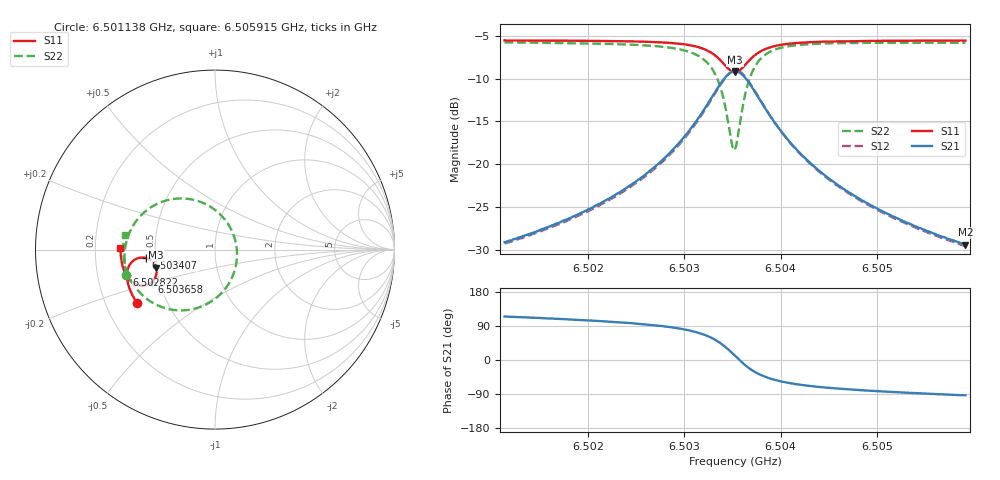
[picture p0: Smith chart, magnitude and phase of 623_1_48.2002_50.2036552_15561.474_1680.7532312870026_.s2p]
#  HZ  S  RI  R  50.00
! Rohde & Schwarz Vector Network Analyzer
! Rohde-Schwarz,ZNB20-2Port,1311601062101988,3.16
! Created: UTC 3/20/2024, 12:03:59 PM
! freq[Hz]  re:S11  im:S11  re:S21  im:S21  re:S12  im:S12  re:S22  im:S22
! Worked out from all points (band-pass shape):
!   401 points, 6.501138 GHz to 6.505915 GHz, reference 50 ohm
!   highest |S21| = -9.14 dB at 6.503526 GHz (marker M1); lowest = -29.3 dB at 6.505915 GHz (marker M2)
!   |S21| within 3 dB of the highest: 6.503288 GHz to 6.503766 GHz (477.6 kHz wide, 0.00734 % of centre)
!   lowest |S11| = -9.3 dB at 6.503526 GHz (marker M3), VSWR 2.05, Z = 24.8 - j5.62 ohm
!   |S11| at or under -10 dB: nowhere
!   |S22| runs from -18.3 to -5.8 dB; largest |S21 - S12| = 0.012
!   S11 on the Smith chart (normalised r, x): 6.501138 GHz: 0.34, -0.28; 6.502822 GHz: 0.33, -0.13; 6.503407 GHz: 0.44, -0.05; 6.503658 GHz: 0.45, -0.19; 6.505915 GHz: 0.31, +0.01
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6.5011376e9  -0.4351 -0.2973  -0.0148 0.032  -0.013 0.0321  -0.4944 -0.1388
6.5019379e9  -0.4682 -0.2364  -0.0139 0.0505  -0.0114 0.05  -0.5047 -0.0506
6.5023798e9  -0.4831 -0.196  -0.0106 0.071  -0.00741 0.0697  -0.4998 0.0152
6.5027381e9  -0.4906 -0.1545  -0.000813 0.1017  0.00298 0.0993  -0.4779 0.0912
6.5028217e9  -0.491 -0.1429  0.00417 0.1124  0.0081 0.1095  -0.4671 0.1143
6.5030248e9  -0.4861 -0.1089  0.0273 0.1479  0.0312 0.1434  -0.4187 0.1836
6.5031681e9  -0.4712 -0.0787  0.066 0.1823  0.0688 0.1764  -0.3441 0.2435
6.5033115e9  -0.4321 -0.0489  0.15 0.2115  0.1508 0.2053  -0.1912 0.285
6.5033592e9  -0.4101 -0.0441  0.1936 0.2101  0.1939 0.2045  -0.1143 0.276
6.503407e9  -0.384 -0.0466  0.2439 0.1943  0.2442 0.1898  -0.0283 0.2405
6.5034906e9  -0.3399 -0.077  0.3245 0.1174  0.3275 0.1132  0.1007 0.0888
6.5035265e9  -0.3287 -0.0999  0.3425 0.0671  0.3468 0.0616  0.1223 -0.00586
6.5035504e9  -0.3256 -0.1168  0.346 0.0315  0.3507 0.0246  0.1197 -0.0714
6.5035862e9  -0.3279 -0.1417  0.3384 -0.0203  0.3425 -0.0296  0.0914 -0.1632
6.5036579e9  -0.351 -0.1801  0.2899 -0.099  0.2905 -0.1112  -0.0226 -0.2906
6.5037534e9  -0.3931 -0.2006  0.2091 -0.1433  0.2043 -0.1542  -0.1876 -0.3389
6.5039087e9  -0.4436 -0.1931  0.1184 -0.1424  0.1109 -0.1482  -0.3524 -0.2933
6.5040759e9  -0.4735 -0.1719  0.0692 -0.1206  0.0625 -0.1234  -0.4324 -0.2243
6.5043267e9  -0.4961 -0.1405  0.0354 -0.0931  0.0303 -0.0937  -0.4812 -0.1449
6.504709e9  -0.5125 -0.0994  0.0147 -0.0671  0.0114 -0.0667  -0.5051 -0.0643
6.505127e9  -0.5212 -0.0599  0.00543 -0.0507  0.00307 -0.0501  -0.5111 -0.00284
6.5059154e9  -0.5265 0.00762  -0.00195 -0.0341  -0.0034 -0.0333  -0.5041 0.0838
